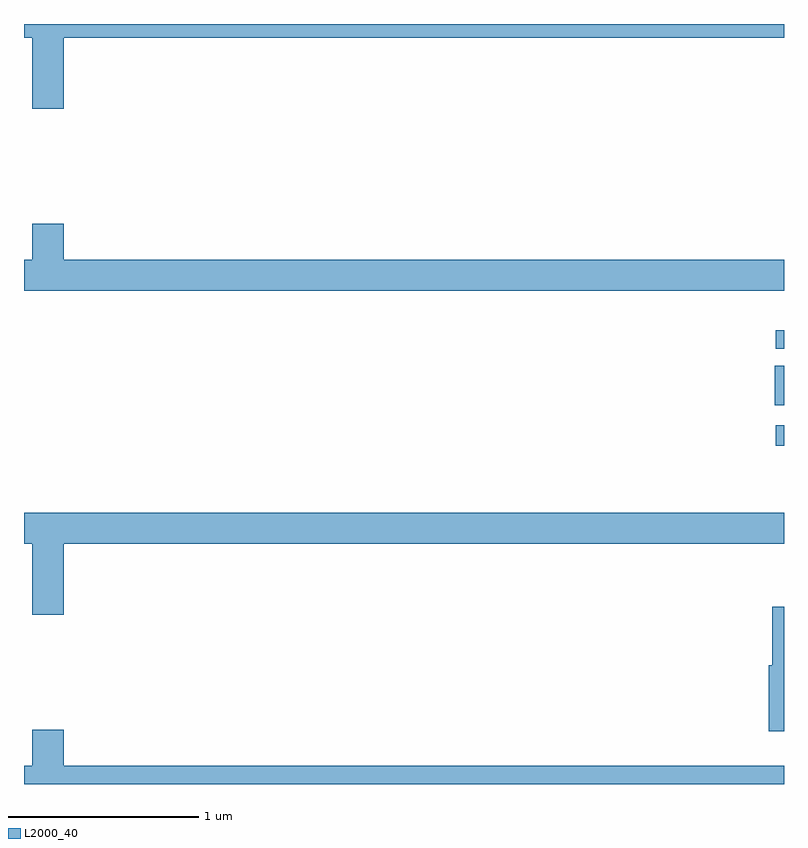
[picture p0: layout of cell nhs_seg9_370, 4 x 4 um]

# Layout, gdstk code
import gdstk
lib = gdstk.Library(unit=1e-6, precision=1e-09)
def R(c, l, rs):  # rectangles x0, y0, x1, y1
    for r in rs: c.add(gdstk.rectangle(r[:2], r[2:], *l))
def P(c, l, *ps):  # polygons
    for p in ps: c.add(gdstk.Polygon(p, *l))
L2000_40 = (2000, 40)

nhs_seg9_370 = lib.new_cell('nhs_seg9_370')
R(nhs_seg9_370, L2000_40, [(132.957,1186.281,133,1186.389), (132.95,1186.493,133,1186.702), (132.957,1186.791,133,1186.887)])
P(nhs_seg9_370, L2000_40, [(129.208,1188.428),(133,1188.428),(133,1188.5),(129,1188.5),(129,1188.428),(129.044,1188.428),(129.044,1188.054),(129.208,1188.054)],
  [(133,1187.26),(129.208,1187.26),(129.208,1187.449),(129.044,1187.449),(129.044,1187.26),(129,1187.26),(129,1187.096),(133,1187.096)],
  [(129.208,1185.764),(133,1185.764),(133,1185.928),(129,1185.928),(129,1185.764),(129.044,1185.764),(129.044,1185.39),(129.208,1185.39)],
  [(133,1185.433),(132.938,1185.433),(132.938,1185.126),(132.92,1185.126),(132.92,1184.778),(133,1184.778)],
  [(133,1184.596),(129.208,1184.596),(129.208,1184.785),(129.044,1184.785),(129.044,1184.596),(129,1184.596),(129,1184.5),(133,1184.5)])

lib.write_gds('nhs_seg9_370.gds')
